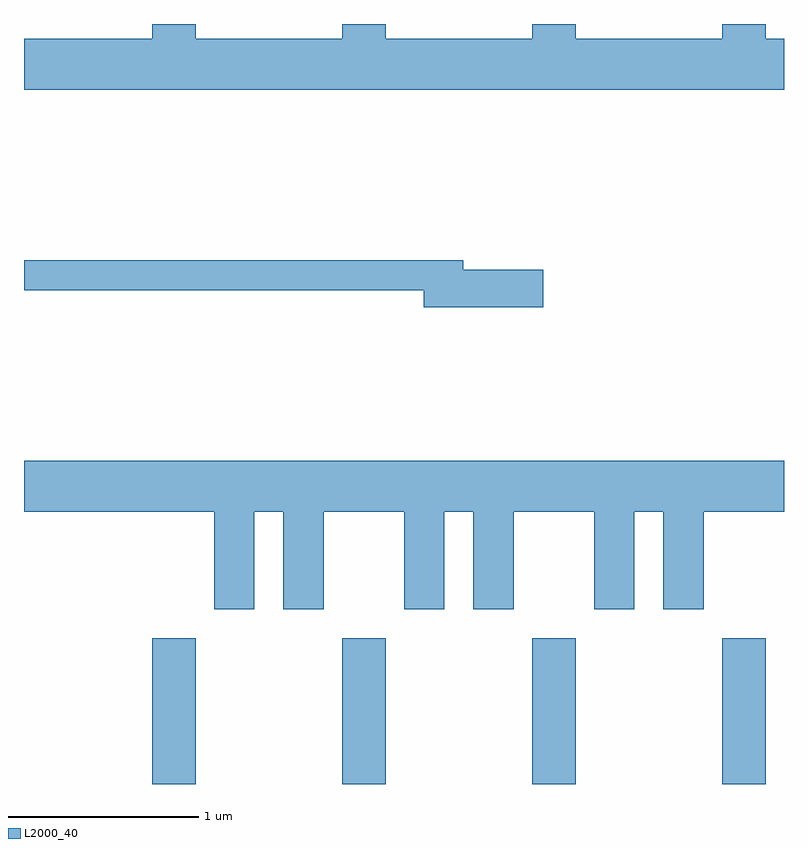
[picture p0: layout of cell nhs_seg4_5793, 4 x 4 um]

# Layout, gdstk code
import gdstk
lib = gdstk.Library(unit=1e-6, precision=1e-09)
def R(c, l, rs):  # rectangles x0, y0, x1, y1
    for r in rs: c.add(gdstk.rectangle(r[:2], r[2:], *l))
def A(c, l, x, y, w, h, nx, ny, dx, dy):  # array of equal rectangles
    R(c, l, [(x+i*dx, y+j*dy, x+i*dx+w, y+j*dy+h) for i in range(nx) for j in range(ny)])
def P(c, l, *ps):  # polygons
    for p in ps: c.add(gdstk.Polygon(p, *l))
L2000_40 = (2000, 40)

nhs_seg4_5793 = lib.new_cell('nhs_seg4_5793')
A(nhs_seg4_5793, L2000_40, 356.286, 1279.982, 0.228, 0.767, 4, 1, 1, 0)
P(nhs_seg4_5793, L2000_40, [(359.611,1283.904),(359.514,1283.904),(359.514,1283.982),(359.286,1283.982),(359.286,1283.904),(358.514,1283.904),(358.514,1283.982),(358.286,1283.982),(358.286,1283.904),(357.514,1283.904),(357.514,1283.982),(357.286,1283.982),(357.286,1283.904),(356.514,1283.904),(356.514,1283.982),(356.286,1283.982),(356.286,1283.904),(355.611,1283.904),(355.611,1283.636),(359.611,1283.636)],
  [(358.344,1282.689),(357.924,1282.689),(357.924,1282.739),(355.611,1282.739),(355.611,1282.581),(357.716,1282.581),(357.716,1282.491),(358.344,1282.491)],
  [(356.824,1281.416),(356.976,1281.416),(356.976,1280.901),(357.189,1280.901),(357.189,1281.416),(357.611,1281.416),(357.611,1280.901),(357.824,1280.901),(357.824,1281.416),(357.976,1281.416),(357.976,1280.901),(358.189,1280.901),(358.189,1281.416),(358.611,1281.416),(358.611,1280.901),(358.824,1280.901),(358.824,1281.416),(358.976,1281.416),(358.976,1280.901),(359.189,1280.901),(359.189,1281.416),(359.611,1281.416),(359.611,1281.684),(355.611,1281.684),(355.611,1281.416),(356.611,1281.416),(356.611,1280.901),(356.824,1280.901)])

lib.write_gds('nhs_seg4_5793.gds')
